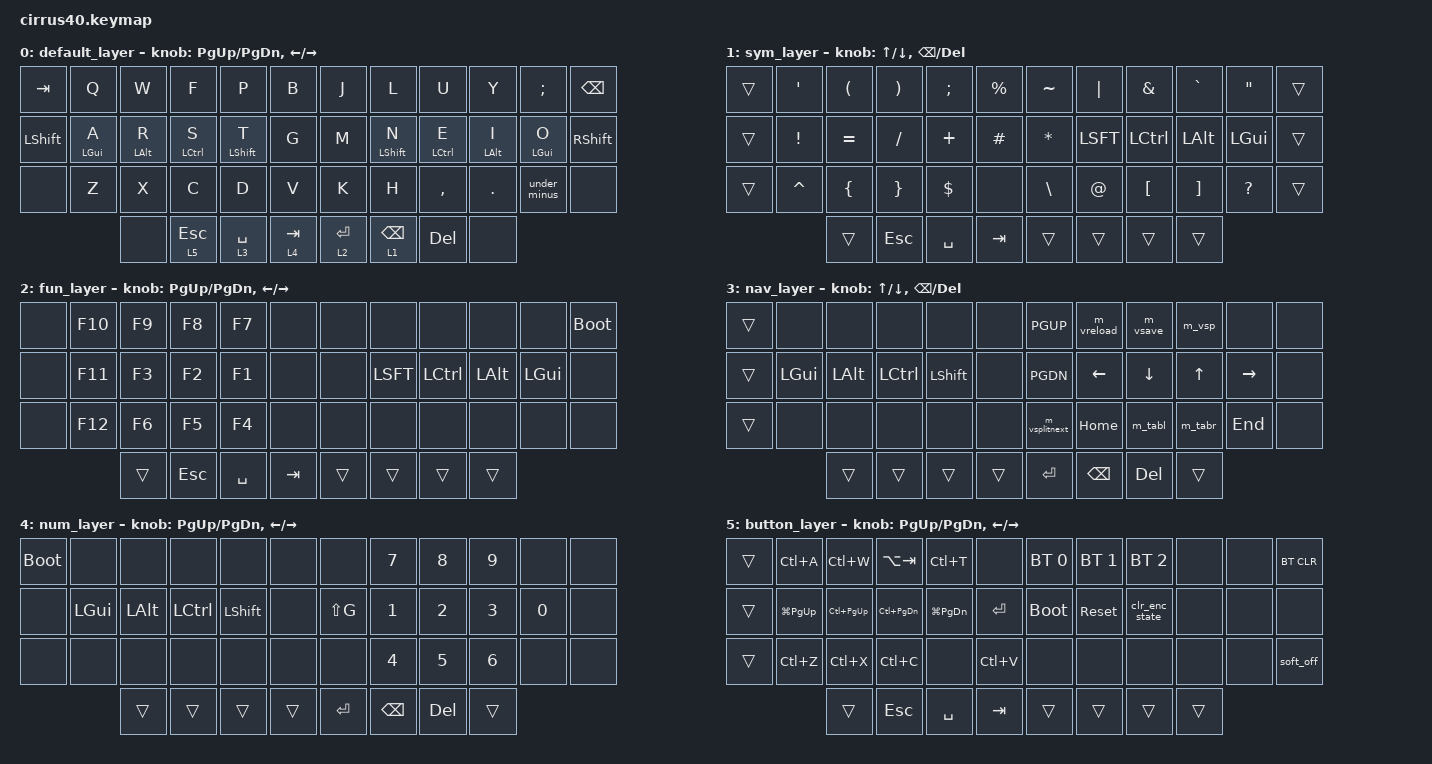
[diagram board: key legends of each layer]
/*
 * Copyright (c) 2022 The ZMK Contributors
 *
 * SPDX-License-Identifier: MIT
 */

#include <behaviors.dtsi>
#include <dt-bindings/zmk/keys.h>
#include <dt-bindings/zmk/bt.h>
#include <dt-bindings/zmk/outputs.h>

/ {
    behaviors {
        hml: home_row_mod_left {
            compatible = "zmk,behavior-hold-tap";
            #binding-cells = <2>;
            flavor = "balanced";
            // require-prior-idle-ms = <125>;
            tapping-term-ms = <250>;
            quick-tap-ms = <175>;
            bindings = <&kp>, <&kp>;
            hold-trigger-key-positions =
              <  6  7  8  9 10 11
                18 19 20 21 22 23
                30 31 32 33 34 35
                36 37 38 39
                40 41 42 43
                44 45>;  // The encoders.
            hold-trigger-on-release;
        };
        hml2: home_row_mod_left_fast {
            compatible = "zmk,behavior-hold-tap";
            #binding-cells = <2>;
            flavor = "balanced";
            tapping-term-ms = <175>;
            bindings = <&kp>, <&kp>;
            hold-trigger-key-positions =
              <  6  7  8  9 10 11
                18 19 20 21 22 23
                30 31 32 33 34 35
                36 37 38 39
                40 41 42 43
                44 45>;  // The encoders.
            hold-trigger-on-release;
        };
        hmr: home_row_mod_right {
            compatible = "zmk,behavior-hold-tap";
            #binding-cells = <2>;
            flavor = "balanced";
            // require-prior-idle-ms = <125>;
            tapping-term-ms = <250>;
            quick-tap-ms = <175>;
            bindings = <&kp>, <&kp>;
            hold-trigger-key-positions =
              <  0  1  2  3  4  5
                12 13 14 15 16 17
                24 25 26 27 28 29
                36 37 38 39
                40 41 42 43
                44 45>;  // The encoders.
            hold-trigger-on-release;
        };
        hmr2: home_row_mod_right_fast {
            compatible = "zmk,behavior-hold-tap";
            #binding-cells = <2>;
            flavor = "balanced";
            tapping-term-ms = <175>;
            bindings = <&kp>, <&kp>;
            hold-trigger-key-positions =
              <  0  1  2  3  4  5
                12 13 14 15 16 17
                24 25 26 27 28 29
                36 37 38 39
                40 41 42 43
                44 45>;  // The encoders.
            hold-trigger-on-release;
        };
        lt_b: layer_tap_balanced {
            compatible = "zmk,behavior-hold-tap";
            #binding-cells = <2>;
            flavor = "balanced";
            tapping-term-ms = <200>;
            bindings = <&mo>, <&kp>;
            display-name = "Layer-Tap";
        };
        under_minus: minus_swapped_with_underscore {
            compatible = "zmk,behavior-mod-morph";
            #binding-cells = <0>;
            bindings = <&kp UNDER>, <&kp MINUS>;
            mods = <(MOD_LSFT|MOD_RSFT)>;
        };
    };

    combos {
        compatible = "zmk,combos";
        caps_word_combo {
            timeout-ms = <50>;
            key-positions = <13 22>; // HRM_A, HRM_O
            bindings = <&caps_word>;
        };
    };

    macros {
      ZMK_MACRO(m_vreload,
          wait-ms = <30>;
          tap-ms = <40>;
          bindings = <&kp COLON &kp E &kp ENTER>;
      )
      ZMK_MACRO(m_vsave,
          wait-ms = <30>;
          tap-ms = <40>;
          bindings = <&kp COLON &kp W &kp ENTER>;
      )
      ZMK_MACRO(m_vsp,
          wait-ms = <30>;
          tap-ms = <40>;
          bindings = <&kp COLON &kp V &kp S &kp P &kp ENTER>;
      )
      ZMK_MACRO(m_vsplitnext,
          wait-ms = <30>;
          tap-ms = <40>;
          bindings = <&macro_press &kp LCTRL>
                   , <&macro_tap &kp W>
                   , <&macro_tap &kp W>
                   , <&macro_release &kp LCTRL>
                   ;
      )
      ZMK_MACRO(m_tabl,
          wait-ms = <30>;
          tap-ms = <40>;
          bindings = <&macro_tap &kp G>
                   , <&macro_press &kp LSHFT>
                   , <&macro_tap &kp T>
                   , <&macro_release &kp LSHFT>
                   ;
      )
      ZMK_MACRO(m_tabr,
          wait-ms = <30>;
          tap-ms = <40>;
          bindings = <&kp G &kp T>;
      )
    };

    keymap {
        compatible = "zmk,keymap";

        default_layer {
            bindings = <
&kp TAB         &kp Q           &kp W           &kp F           &kp P           &kp B           &kp J           &kp L           &kp U           &kp Y           &kp SEMI        &kp BSPC
&kp LSHFT       &hml LGUI A     &hml LALT R     &hml LCTRL S    &hml2 LSHFT T   &kp G           &kp M           &hmr2 LSHFT N   &hmr LCTRL E    &hmr LALT I     &hmr LGUI O     &kp RSHFT
&none           &kp Z           &kp X           &kp C           &kp D           &kp V           &kp K           &kp H           &kp COMMA       &kp DOT         &under_minus    &none
                                &none           &lt_b 5 ESC     &lt_b 3 SPACE   &lt_b 4 TAB     &lt_b 2 RET     &lt_b 1 BSPC    &kp DEL         &none
            >;
            sensor-bindings = <&inc_dec_kp PG_UP PG_DN &inc_dec_kp LEFT RIGHT>;
        };

        // Right middle.
        sym_layer {
            bindings = <
&trans          &kp SQT         &kp LPAR        &kp RPAR        &kp SEMI        &kp PRCNT       &kp TILDE       &kp PIPE        &kp AMPS        &kp GRAVE       &kp DQT         &trans
&trans          &kp EXCL        &kp EQUAL       &kp SLASH       &kp PLUS        &kp HASH        &kp ASTRK       &kp LSFT        &kp LCTRL       &kp LALT        &kp LGUI        &trans
&trans          &kp CARET       &kp LBRC        &kp RBRC        &kp DLLR        &none           &kp BSLH        &kp AT          &kp LBKT        &kp RBKT        &kp QMARK       &trans
                                &trans          &kp ESC         &kp SPACE       &kp TAB         &trans          &trans          &trans          &trans
            >;
            sensor-bindings = <&inc_dec_kp UP DOWN &inc_dec_kp BSPC DEL>;
        };

        // Right outer.
        fun_layer {
            bindings = <
&none           &kp F10         &kp F9          &kp F8          &kp F7          &none           &none           &none           &none           &none           &none           &bootloader
&none           &kp F11         &kp F3          &kp F2          &kp F1          &none           &none           &kp LSFT        &kp LCTRL       &kp LALT        &kp LGUI        &none
&none           &kp F12         &kp F6          &kp F5          &kp F4          &none           &none           &none           &none           &none           &none           &none
                                &trans          &kp ESC         &kp SPACE       &kp TAB         &trans          &trans          &trans          &trans
            >;
            sensor-bindings = <&inc_dec_kp PG_UP PG_DN &inc_dec_kp LEFT RIGHT>;
        };

        // Left middle.
        nav_layer {
            bindings = <
&trans          &none           &none           &none           &none           &none           &kp PGUP        &m_vreload      &m_vsave        &m_vsp          &none           &none
&trans          &kp LGUI        &kp LALT        &kp LCTRL       &kp LSHFT       &none           &kp PGDN        &kp LEFT        &kp DOWN        &kp UP          &kp RIGHT       &none
&trans          &none           &none           &none           &none           &none           &m_vsplitnext   &kp HOME        &m_tabl         &m_tabr         &kp END         &none
                                &trans          &trans          &trans          &trans          &kp RET         &kp BSPC        &kp DEL         &trans
            >;
            sensor-bindings = <&inc_dec_kp UP DOWN &inc_dec_kp BSPC DEL>;
        };

        // Left outer.
        num_layer {
            bindings = <
&bootloader     &none           &none           &none           &none           &none           &none           &kp N7          &kp N8          &kp N9          &none           &none
&none           &kp LGUI        &kp LALT        &kp LCTRL       &kp LSHFT       &none           &kp LS(G)       &kp N1          &kp N2          &kp N3          &kp N0          &none
&none           &none           &none           &none           &none           &none           &none           &kp N4          &kp N5          &kp N6          &none           &none
                                &trans          &trans          &trans          &trans          &kp RET         &kp BSPC        &kp DEL         &trans
            >;
            sensor-bindings = <&inc_dec_kp PG_UP PG_DN &inc_dec_kp LEFT RIGHT>;
        };

        // Left inner.
        button_layer {
            bindings = <
&trans         &kp LC(A)        &kp LC(W)       &kp LA(TAB)     &kp LC(T)       &none           &bt BT_SEL 0    &bt BT_SEL 1    &bt BT_SEL 2    &none           &none           &bt BT_CLR
&trans         &kp LG(PG_UP)    &kp LC(PG_UP)   &kp LC(PG_DN)   &kp LG(PG_DN)   &kp RET         &bootloader     &sys_reset      &clr_enc_state  &none           &none           &none
&trans         &kp LC(Z)        &kp LC(X)       &kp LC(C)       &none           &kp LC(V)       &none           &none           &none           &none           &none           &soft_off
                                &trans          &kp ESC         &kp SPACE       &kp TAB         &trans          &trans          &trans         &trans
            >;
            sensor-bindings = <&inc_dec_kp PG_UP PG_DN &inc_dec_kp LEFT RIGHT>;
        };
    };
};
